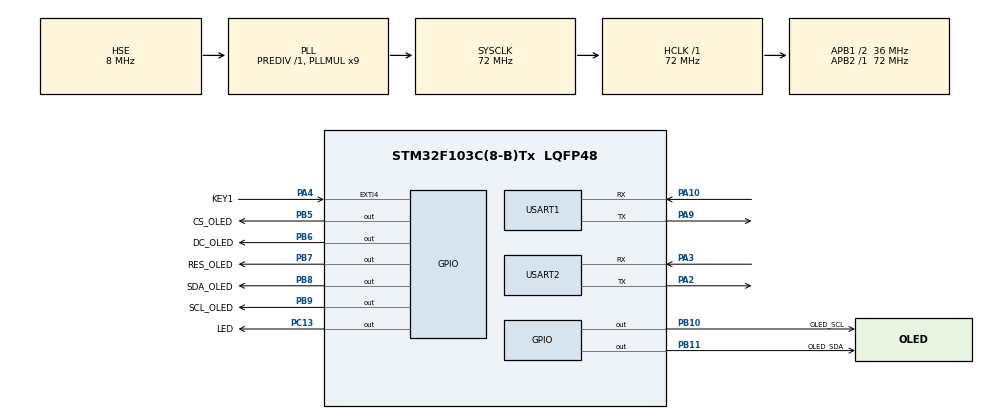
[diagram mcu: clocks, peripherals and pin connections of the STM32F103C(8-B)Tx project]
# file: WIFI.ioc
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Mcu.Family=STM32F1
Mcu.Name=STM32F103C(8-B)Tx
Mcu.Package=LQFP48
NVIC.EXTI4_IRQn=true\:0\:0\:false\:false\:true\:true\:true\:true
NVIC.PriorityGroup=NVIC_PRIORITYGROUP_4
NVIC.TIM1_UP_IRQn=true\:0\:0\:false\:false\:true\:true\:true\:true
NVIC.USART1_IRQn=true\:1\:0\:true\:false\:true\:true\:true\:true
NVIC.USART2_IRQn=true\:0\:0\:false\:false\:true\:true\:true\:true
PA10.Mode=Asynchronous
PA10.Signal=USART1_RX
PA13.Mode=Serial_Wire
PA13.Signal=SYS_JTMS-SWDIO
PA14.Mode=Serial_Wire
PA14.Signal=SYS_JTCK-SWCLK
PA2.Mode=Asynchronous
PA2.Signal=USART2_TX
PA3.Mode=Asynchronous
PA3.Signal=USART2_RX
PA4.GPIO_Label=KEY1
PA4.Signal=GPXTI4
PA9.Mode=Asynchronous
PA9.Signal=USART1_TX
PB10.GPIO_Label=OLED_SCL
PB10.Signal=GPIO_Output
PB11.GPIO_Label=OLED_SDA
PB11.Signal=GPIO_Output
PB5.GPIO_Label=CS_OLED
PB5.Signal=GPIO_Output
PB6.GPIO_Label=DC_OLED
PB6.Signal=GPIO_Output
PB7.GPIO_Label=RES_OLED
PB7.Signal=GPIO_Output
PB8.GPIO_Label=SDA_OLED
PB8.Signal=GPIO_Output
PB9.GPIO_Label=SCL_OLED
PB9.Signal=GPIO_Output
PC13-TAMPER-RTC.GPIO_Label=LED
PC13-TAMPER-RTC.Signal=GPIO_Output
PD0-OSC_IN.Mode=HSE-External-Oscillator
PD0-OSC_IN.Signal=RCC_OSC_IN
PD1-OSC_OUT.Mode=HSE-External-Oscillator
PD1-OSC_OUT.Signal=RCC_OSC_OUT
ProjectManager.HeapSize=0x200
ProjectManager.StackSize=0x400
ProjectManager.TargetToolchain=MDK-ARM V5.32
RCC.AHBFreq_Value=72000000
RCC.APB1CLKDivider=RCC_HCLK_DIV2
RCC.APB1Freq_Value=36000000
RCC.APB1TimFreq_Value=72000000
RCC.APB2Freq_Value=72000000
RCC.APB2TimFreq_Value=72000000
RCC.HCLKFreq_Value=72000000
RCC.PLLMUL=RCC_PLL_MUL9
RCC.PLLSourceVirtual=RCC_PLLSOURCE_HSE
RCC.SYSCLKFreq_VALUE=72000000
RCC.SYSCLKSource=RCC_SYSCLKSOURCE_PLLCLK
RCC.USBFreq_Value=72000000
TIM1.AutoReloadPreload=TIM_AUTORELOAD_PRELOAD_ENABLE
TIM1.Period=100-1
TIM1.Prescaler=1440-1
USART1.VirtualMode=VM_ASYNC
USART2.VirtualMode=VM_ASYNC
VP_TIM1_VS_ClockSourceINT.Mode=Internal
board=custom

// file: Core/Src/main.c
/* USER CODE BEGIN Header */
/**
  ******************************************************************************
  * @file           : main.c
  * @brief          : Main program body
  ******************************************************************************
  * @attention
  *
  * Copyright (c) 2025 STMicroelectronics.
  * All rights reserved.
  *
  * This software is licensed under terms that can be found in the LICENSE file
  * in the root directory of this software component.
  * If no LICENSE file comes with this software, it is provided AS-IS.
  *
  ******************************************************************************
  */
/* USER CODE END Header */
#include "main.h"
#include "tim.h"
#include "usart.h"
#include "gpio.h"

/* USER CODE BEGIN Includes */
#include "oled.h"
#include "esp8266.h"
/* USER CODE END Includes */

/* USER CODE BEGIN PV */

typedef struct
{
  uint8_t rx_char;
  uint16_t index;
  uint8_t buffer[256];
  uint8_t Buf_flag;
} RxBufferType;

RxBufferType rx_buffer = {0};

uint8_t rx_char_uart2 = 0;

ESP8266_Config* esp8266_config;

SystemState system_state = STATE_INIT;

uint8_t key1_press = 0;
/* USER CODE END PV */

void SystemClock_Config(void);

void esp8266_rx_callback(ESP8266_Config* esp8266_config,uint8_t* data)
{
    uint8_t command = 0;
    // if(esp8266_config != NULL)
    // {
    if(sscanf(data,"servant+command+%d",&command) == 1)
    {
        if (command == 1)
        {
          HAL_GPIO_TogglePin(LED_GPIO_Port, LED_Pin);
        }
    }
    // }
}

int main(void)
{

  /* USER CODE BEGIN 1 */
  esp8266_config = ESP8266_Init(ESP8266_MODE_AP, &huart1, &htim1, "ESP8266", "12345678");
  /* USER CODE END 1 */
  /* MCU Configuration--------------------------------------------------------*/

  /* Reset of all peripherals, Initializes the Flash interface and the Systick. */
  HAL_Init();

  /* Configure the system clock */
  SystemClock_Config();

  /* Initialize all configured peripherals */
  MX_GPIO_Init();
  MX_USART1_UART_Init();
  MX_USART2_UART_Init();
  MX_TIM1_Init();
  /* USER CODE BEGIN 2 */
  HAL_UART_Receive_IT(&huart1, &rx_buffer.rx_char, 1);
  HAL_UART_Receive_IT(&huart2, &rx_char_uart2, 1);
  Excute_User_Callback_Rx(esp8266_config, esp8266_rx_callback);
  OLED_Init();
  OLED_Clear();
  OLED_DisplayTurn(0);
  OLED_ColorTurn(0);
  /* USER CODE END 2 */
  // HAL_TIM_Base_Start_IT(&htim1);
  // printf("global_config.type:%d,esp8266_config->status:%d\n", esp8266_config->global_config.type, esp8266_config->status);

  uint8_t buf[256];
  /* Infinite loop */
  /* USER CODE BEGIN WHILE */
  system_state = Get_ESP8266_SystemState(esp8266_config);
  while (1)
  {
    /* USER CODE END WHILE */
    if (key1_press)
    {
        sprintf(buf,"servant+command+1");
        Send_msg(esp8266_config, buf);
        key1_press = 0;
    }

    Get_ESP8266_SystemState(esp8266_config);
    Excute_Esp8266(esp8266_config);
    if(Get_ESP8266_SystemState(esp8266_config) != system_state)
    {
      sprintf(buf, "TEST: %d\n", Get_ESP8266_SystemState(esp8266_config));
      OLED_ShowString(0,0,buf,16,1);
      OLED_Refresh();
    }
  }
}

void SystemClock_Config(void)
{
  RCC_OscInitTypeDef RCC_OscInitStruct = {0};
  RCC_ClkInitTypeDef RCC_ClkInitStruct = {0};

  /** Initializes the RCC Oscillators according to the specified parameters
  * in the RCC_OscInitTypeDef structure.
  */
  RCC_OscInitStruct.OscillatorType = RCC_OSCILLATORTYPE_HSE;
  RCC_OscInitStruct.HSEState = RCC_HSE_ON;
  RCC_OscInitStruct.HSEPredivValue = RCC_HSE_PREDIV_DIV1;
  RCC_OscInitStruct.HSIState = RCC_HSI_ON;
  RCC_OscInitStruct.PLL.PLLState = RCC_PLL_ON;
  RCC_OscInitStruct.PLL.PLLSource = RCC_PLLSOURCE_HSE;
  RCC_OscInitStruct.PLL.PLLMUL = RCC_PLL_MUL9;
  if (HAL_RCC_OscConfig(&RCC_OscInitStruct) != HAL_OK)
  {
    Error_Handler();
  }

  /** Initializes the CPU, AHB and APB buses clocks
  */
  RCC_ClkInitStruct.ClockType = RCC_CLOCKTYPE_HCLK|RCC_CLOCKTYPE_SYSCLK
                              |RCC_CLOCKTYPE_PCLK1|RCC_CLOCKTYPE_PCLK2;
  RCC_ClkInitStruct.SYSCLKSource = RCC_SYSCLKSOURCE_PLLCLK;
  RCC_ClkInitStruct.AHBCLKDivider = RCC_SYSCLK_DIV1;
  RCC_ClkInitStruct.APB1CLKDivider = RCC_HCLK_DIV2;
  RCC_ClkInitStruct.APB2CLKDivider = RCC_HCLK_DIV1;

  if (HAL_RCC_ClockConfig(&RCC_ClkInitStruct, FLASH_LATENCY_2) != HAL_OK)
  {
    Error_Handler();
  }
}

/* USER CODE BEGIN 4 */
void HAL_UART_RxCpltCallback(UART_HandleTypeDef *huart)
{
  if (huart->Instance == USART1)
  {
    if(rx_buffer.rx_char == '\n' || rx_buffer.rx_char == '\r')
    {
      // rx_buffer.buffer[rx_buffer.index - 1] = '\n';
      rx_buffer.buffer[rx_buffer.index] = '\0';
      rx_buffer.index = 0;
      // HAL_UART_Transmit(&huart2, rx_buffer.buffer, strlen(rx_buffer.buffer), HAL_MAX_DELAY);
      rx_buffer.Buf_flag = 1;
      // printf("Received: %s\n", rx_buffer.buffer);
      UART_Handle_RX(esp8266_config, rx_buffer.buffer);
    }
    else
    {
      rx_buffer.buffer[rx_buffer.index++] = rx_buffer.rx_char;
      if (rx_buffer.index >= sizeof(rx_buffer.buffer))
      {
        rx_buffer.index = 0;
      }
    }
    HAL_UART_Receive_IT(&huart1, &rx_buffer.rx_char, 1);
  }
  if (huart->Instance == USART2)
  {
    HAL_UART_Transmit(&huart2, &rx_char_uart2, 1, HAL_MAX_DELAY);
//    HAL_UART_Transmit(&huart1, &rx_char_uart2, 1, HAL_MAX_DELAY);
    HAL_UART_Receive_IT(&huart2, &rx_char_uart2, 1);
  }

}

void HAL_TIM_PeriodElapsedCallback(TIM_HandleTypeDef *htim)
{
  static uint32_t tick = 0;
   if (htim->Instance == TIM1)
   {
      tick++;
      Excute_ESP8266_TIMEOUT_CHECK(esp8266_config,2);
      if(tick % 250 == 0)
      {
        HAL_GPIO_TogglePin(LED_GPIO_Port,LED_Pin);

        tick = 0;
      }

   }
}

void HAL_GPIO_EXTI_Callback(uint16_t GPIO_Pin)
{
  // static uint32_t count = 0;
  if(GPIO_Pin == KEY1_Pin)
  {
    // printf("KEY1 pressed\n");
    key1_press = 1;
  }
}

/* USER CODE END 4 */

void Error_Handler(void)
{
  __disable_irq();
  while (1)
  {
  }
}
